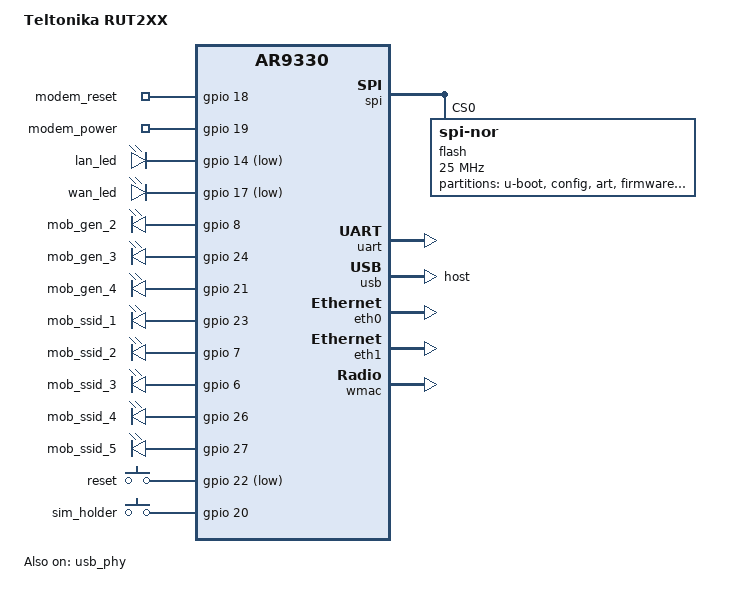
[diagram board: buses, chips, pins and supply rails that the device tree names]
// SPDX-License-Identifier: GPL-2.0-or-later OR MIT
/dts-v1/;

#include <dt-bindings/gpio/gpio.h>
#include <dt-bindings/input/input.h>
#include "ar9330.dtsi"
#include "platform_name.dtsi"

/ {
	compatible = "teltonika,rut2xx", "qca,ar9330";
	model = "Teltonika RUT2XX";

	aliases {
		serial0 = &uart;
	};

	gpio-export {
		compatible = "gpio-export";
		#size-cells = <0>;

		gpio_modem_reset {
			gpio-export,name = "modem_reset";
			gpio-export,output = <0>;
			gpios = <&gpio 18 GPIO_ACTIVE_HIGH>;
		};

		gpio_modem_power {
			gpio-export,name = "modem_power";
			gpio-export,output = <0>;
			gpios = <&gpio 19 GPIO_ACTIVE_HIGH>;
		};
	};

	leds {
		compatible = "gpio-leds";

		lan_led {
			label = "lan_led";
			gpios = <&gpio 14 GPIO_ACTIVE_LOW>;
		};

		wan_led {
			label = "wan_led";
			gpios = <&gpio 17 GPIO_ACTIVE_LOW>;
		};

		led_gen_2 {
			label = "mob_gen_2";
			gpios = <&gpio 8 GPIO_ACTIVE_HIGH>;
		};

		led_gen_3 {
			label = "mob_gen_3";
			gpios = <&gpio 24 GPIO_ACTIVE_HIGH>;
		};

		led_gen_4 {
			label = "mob_gen_4";
			gpios = <&gpio 21 GPIO_ACTIVE_HIGH>;
		};

		led_ssid_1 {
			label = "mob_ssid_1";
			gpios = <&gpio 23 GPIO_ACTIVE_HIGH>;
			linux,default-trigger = "timer";
		};

		led_ssid_2 {
			label = "mob_ssid_2";
			gpios = <&gpio 7 GPIO_ACTIVE_HIGH>;
			linux,default-trigger = "timer";
		};

		led_ssid_3 {
			label = "mob_ssid_3";
			gpios = <&gpio 6 GPIO_ACTIVE_HIGH>;
			linux,default-trigger = "timer";
		};

		led_ssid_4 {
			label = "mob_ssid_4";
			gpios = <&gpio 26 GPIO_ACTIVE_HIGH>;
			linux,default-trigger = "timer";
		};

		led_ssid_5 {
			label = "mob_ssid_5";
			gpios = <&gpio 27 GPIO_ACTIVE_HIGH>;
			linux,default-trigger = "timer";
		};
	};

	keys {
		compatible = "gpio-keys";

		reset {
			label = "reset";
			linux,code = <KEY_RESTART>;
			gpios = <&gpio 22 GPIO_ACTIVE_LOW>;
		};

		sim_holder {
			label = "sim_holder";
			linux,code = <BTN_0>;
			gpios = <&gpio 20 GPIO_ACTIVE_HIGH>;
		};
	};

	tlt_gpios { // Modify according to wiki page "DTS syntax with Libgpiod changes"
		gpiochip_info {
			hw_0 {
				hwver = <0>;
				gpiochip_count = <1>;

				gpiochip_0 = <32>; // Built-in
			};
		};

		ioman {
			GPIO_12 {
				line_name = "GPIO_OUT_1";
			};
			GPIO_16 {
				line_name = "GPIO_IN_1";
			};
		};

		ledman {
			GPIO_14 {
				line_name = "LED_ETH_GREEN_1";
				active_low;
			};
			GPIO_17 {
				line_name = "LED_ETH_GREEN_2";
				active_low;
			};
			GPIO_8 {
				line_name = "LED_TECH_GEN_2";
			};
			GPIO_24 {
				line_name = "LED_TECH_GEN_3";
			};
			GPIO_21 {
				line_name = "LED_TECH_GEN_4";
			};
			GPIO_23 {
				line_name = "LED_SSID_1";
			};
			GPIO_7 {
				line_name = "LED_SSID_2";
			};
			GPIO_6 {
				line_name = "LED_SSID_3";
			};
			GPIO_26 {
				line_name = "LED_SSID_4";
			};
			GPIO_27 {
				line_name = "LED_SSID_5";
			};
		};

		misc {
			GPIO_18 {
				line_name = "GPIO_MODEM_RESET_1";
			};
			GPIO_19 {
				line_name = "GPIO_MODEM_POWER_1";
			};
		};
	};
};

&mnfinfo {
	simpin1 {
		reg = <&config 0x68 0xc>;
		type = "digit";
		default = "";
		right-side-alligned;
	};

	sim_count {
		default =  "1";
	};

	blver {
		reg = <&boot 0x1fff6 0xa>;
		strip-whitespaces;
		type = "ascii";
		log;
	};
};

&spi {
	status = "okay";
	num-cs = <1>;

	flash@0 {
		compatible = "jedec,spi-nor";
		reg = <0>;
		spi-max-frequency = <25000000>;

		partitions {
			compatible = "fixed-partitions";
			#address-cells = <1>;
			#size-cells = <1>;

			boot: partition@0 {
				label = "u-boot";
				reg = <0x000000 0x020000>;
				read-only;
			};

			config: partition@20000 {
				label = "config";
				reg = <0x020000 0x010000>;
				read-only;
			};

			art: partition@30000 {
				label = "art";
				reg = <0x030000 0x010000>;
				read-only;
			};

			partition@40000 {
				label = "firmware";
				reg = <0x040000 0xf30000>;
				compatible = "tplink,firmware";
			};

			partition@f70000 {
				label = "event-log";
				reg = <0xf70000 0x090000>;
			};
		};
	};
};

&uart {
	status = "okay";
};

&gpio {
	status = "okay";
};

&usb {
	dr_mode = "host";
	status = "okay";
};

&usb_phy {
	status = "okay";
};

&eth0 {
	status = "okay";
	mtd-mac-address = <&config 0x0>;
	mtd-mac-address-increment = <1>;
};

&eth1 {
	status = "okay";
	mtd-mac-address = <&config 0x0>;

	gmac-config {
		device = <&gmac>;
		switch-phy-addr-swap = <0>;
		switch-phy-swap = <0>;
	};
};

&wmac {
	status = "okay";
	mtd-mac-address = <&config 0x0>;
	mtd-mac-address-increment = <2>;
	mtd-cal-data = <&art 0x1000>;
};
